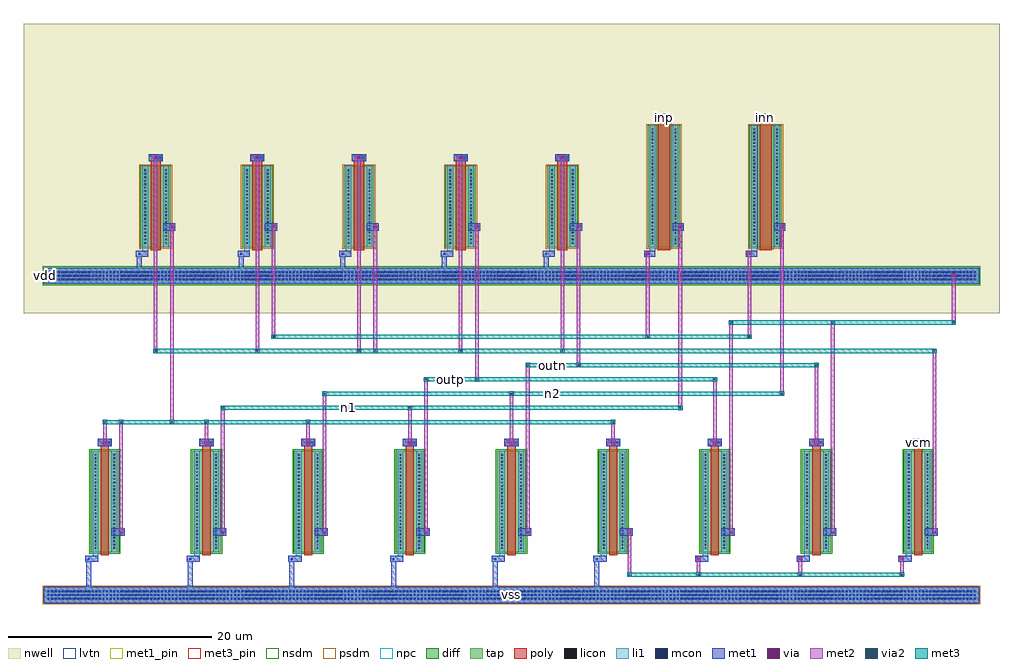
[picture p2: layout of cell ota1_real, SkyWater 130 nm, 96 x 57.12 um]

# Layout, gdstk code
import gdstk
lib = gdstk.Library(unit=1e-6, precision=1e-09)
def R(c, l, rs):  # rectangles x0, y0, x1, y1
    for r in rs: c.add(gdstk.rectangle(r[:2], r[2:], *l))
def A(c, l, x, y, w, h, nx, ny, dx, dy):  # array of equal rectangles
    R(c, l, [(x+i*dx, y+j*dy, x+i*dx+w, y+j*dy+h) for i in range(nx) for j in range(ny)])
nwell = (64, 20)
diff = (65, 20)
tap = (65, 44)
poly = (66, 20)
licon = (66, 44)
li1 = (67, 20)
mcon = (67, 44)
met1_pin = (68, 16)
met1 = (68, 20)
via = (68, 44)
met2 = (69, 20)
via2 = (69, 44)
met3_pin = (70, 16)
met3 = (70, 20)
nsdm = (93, 44)
psdm = (94, 20)
npc = (95, 20)
lvtn = (125, 44)

ota1_real = lib.new_cell('ota1_real')
R(ota1_real, nwell, [(-2,29.5,94,58)])
A(ota1_real, diff, 4.6, 6, 2.8, 10, 9, 1, 10, 0)
A(ota1_real, diff, 9.5, 36, 3, 8, 5, 1, 10, 0)
R(ota1_real, diff, [(59.4,36,62.6,48), (69.4,36,72.6,48)])
R(ota1_real, tap, [(0,1,92,2.6), (0,32.4,92,34)])
A(ota1_real, poly, 5.6, 5.7, 0.8, 10.75, 9, 1, 10, 0)
A(ota1_real, poly, 5.3, 16.45, 1.4, 0.7, 9, 1, 10, 0)
A(ota1_real, poly, 10.5, 35.7, 1, 8.75, 5, 1, 10, 0)
A(ota1_real, poly, 10.3, 44.45, 1.4, 0.7, 5, 1, 10, 0)
R(ota1_real, poly, [(60.4,35.7,61.6,48.45), (70.4,35.7,71.6,48.45), (60.3,48.45,61.7,49.15), (70.3,48.45,71.7,49.15)])
A(ota1_real, licon, 0.355, 1.375, 0.17, 0.17, 269, 3, 0.34, 0.34)
A(ota1_real, licon, 4.99, 6.325, 0.17, 0.17, 1, 28, 0, 0.34)
A(ota1_real, licon, 6.84, 6.325, 0.17, 0.17, 1, 28, 0, 0.34)
A(ota1_real, licon, 14.99, 6.325, 0.17, 0.17, 1, 28, 0, 0.34)
A(ota1_real, licon, 16.84, 6.325, 0.17, 0.17, 1, 28, 0, 0.34)
A(ota1_real, licon, 24.99, 6.325, 0.17, 0.17, 1, 28, 0, 0.34)
A(ota1_real, licon, 26.84, 6.325, 0.17, 0.17, 1, 28, 0, 0.34)
A(ota1_real, licon, 34.99, 6.325, 0.17, 0.17, 1, 28, 0, 0.34)
A(ota1_real, licon, 36.84, 6.325, 0.17, 0.17, 1, 28, 0, 0.34)
A(ota1_real, licon, 44.99, 6.325, 0.17, 0.17, 1, 28, 0, 0.34)
A(ota1_real, licon, 46.84, 6.325, 0.17, 0.17, 1, 28, 0, 0.34)
A(ota1_real, licon, 54.99, 6.325, 0.17, 0.17, 1, 28, 0, 0.34)
A(ota1_real, licon, 56.84, 6.325, 0.17, 0.17, 1, 28, 0, 0.34)
A(ota1_real, licon, 64.99, 6.325, 0.17, 0.17, 1, 28, 0, 0.34)
A(ota1_real, licon, 66.84, 6.325, 0.17, 0.17, 1, 28, 0, 0.34)
A(ota1_real, licon, 74.99, 6.325, 0.17, 0.17, 1, 28, 0, 0.34)
A(ota1_real, licon, 76.84, 6.325, 0.17, 0.17, 1, 28, 0, 0.34)
A(ota1_real, licon, 84.99, 6.325, 0.17, 0.17, 1, 28, 0, 0.34)
A(ota1_real, licon, 86.84, 6.325, 0.17, 0.17, 1, 28, 0, 0.34)
A(ota1_real, licon, 6.315, 16.715, 0.17, 0.17, 9, 1, 10, 0)
A(ota1_real, licon, 0.355, 32.775, 0.17, 0.17, 269, 3, 0.34, 0.34)
A(ota1_real, licon, 59.79, 36.305, 0.17, 0.17, 1, 34, 0, 0.34)
A(ota1_real, licon, 62.04, 36.305, 0.17, 0.17, 1, 34, 0, 0.34)
A(ota1_real, licon, 69.79, 36.305, 0.17, 0.17, 1, 34, 0, 0.34)
A(ota1_real, licon, 72.04, 36.305, 0.17, 0.17, 1, 34, 0, 0.34)
A(ota1_real, licon, 9.89, 36.345, 0.17, 0.17, 1, 22, 0, 0.34)
A(ota1_real, licon, 11.94, 36.345, 0.17, 0.17, 1, 22, 0, 0.34)
A(ota1_real, licon, 19.89, 36.345, 0.17, 0.17, 1, 22, 0, 0.34)
A(ota1_real, licon, 21.94, 36.345, 0.17, 0.17, 1, 22, 0, 0.34)
A(ota1_real, licon, 29.89, 36.345, 0.17, 0.17, 1, 22, 0, 0.34)
A(ota1_real, licon, 31.94, 36.345, 0.17, 0.17, 1, 22, 0, 0.34)
A(ota1_real, licon, 39.89, 36.345, 0.17, 0.17, 1, 22, 0, 0.34)
A(ota1_real, licon, 41.94, 36.345, 0.17, 0.17, 1, 22, 0, 0.34)
A(ota1_real, licon, 49.89, 36.345, 0.17, 0.17, 1, 22, 0, 0.34)
A(ota1_real, licon, 51.94, 36.345, 0.17, 0.17, 1, 22, 0, 0.34)
A(ota1_real, licon, 11.315, 44.715, 0.17, 0.17, 5, 1, 10, 0)
R(ota1_real, licon, [(61.315,48.715,61.485,48.885), (71.315,48.715,71.485,48.885)])
A(ota1_real, li1, 4.05, 5.05, 1.3, 0.6, 9, 1, 10, 0)
A(ota1_real, li1, 4.8, 5.65, 0.55, 10.35, 9, 1, 10, 0)
A(ota1_real, li1, 6.65, 6, 0.55, 1.65, 9, 1, 10, 0)
A(ota1_real, li1, 6.65, 7.65, 1.3, 0.7, 9, 1, 10, 0)
A(ota1_real, li1, 6.65, 8.35, 0.55, 7.65, 9, 1, 10, 0)
A(ota1_real, li1, 5.3, 16.45, 1.4, 0.7, 9, 1, 10, 0)
A(ota1_real, li1, 9.05, 35.05, 1.2, 0.6, 5, 1, 10, 0)
A(ota1_real, li1, 9.7, 35.65, 0.55, 8.35, 5, 1, 10, 0)
A(ota1_real, li1, 11.75, 36, 0.55, 1.65, 5, 1, 10, 0)
A(ota1_real, li1, 11.75, 37.65, 1.2, 0.7, 5, 1, 10, 0)
A(ota1_real, li1, 11.75, 38.35, 0.55, 5.65, 5, 1, 10, 0)
A(ota1_real, li1, 10.3, 44.45, 1.4, 0.7, 5, 1, 10, 0)
R(ota1_real, li1, [(0,1,92,2.6), (0,32.4,92,34), (59.05,35.05,60.15,35.65), (69.05,35.05,70.15,35.65), (59.6,35.65,60.15,48), (69.6,35.65,70.15,48), (61.85,36,62.4,37.65), (71.85,36,72.4,37.65), (61.85,37.65,62.95,38.35), (71.85,37.65,72.95,38.35), (61.85,38.35,62.4,48), (71.85,38.35,72.4,48), (60.3,48.45,61.7,49.15), (70.3,48.45,71.7,49.15)])
A(ota1_real, mcon, 0.375, 1.355, 0.17, 0.17, 254, 3, 0.36, 0.36)
A(ota1_real, mcon, 4.315, 5.265, 0.17, 0.17, 9, 1, 10, 0)
A(ota1_real, mcon, 7.515, 7.915, 0.17, 0.17, 9, 1, 10, 0)
A(ota1_real, mcon, 5.915, 16.715, 0.17, 0.17, 9, 1, 10, 0)
A(ota1_real, mcon, 0.375, 32.755, 0.17, 0.17, 254, 3, 0.36, 0.36)
A(ota1_real, mcon, 9.315, 35.265, 0.17, 0.17, 7, 1, 10, 0)
A(ota1_real, mcon, 12.515, 37.915, 0.17, 0.17, 7, 1, 10, 0)
A(ota1_real, mcon, 10.915, 44.715, 0.17, 0.17, 5, 1, 10, 0)
R(ota1_real, mcon, [(60.915,48.715,61.085,48.885), (70.915,48.715,71.085,48.885)])
R(ota1_real, met1_pin, [(0,1,92,2.6), (85.8,16.6,86.2,17), (0,32.4,0.25,34), (60.8,48.6,61.2,49), (70.8,48.6,71.2,49)])
A(ota1_real, met1, 4.15, 2.6, 0.5, 2.45, 6, 1, 10, 0)
A(ota1_real, met1, 4.05, 5.05, 1.3, 0.6, 9, 1, 10, 0)
A(ota1_real, met1, 6.65, 7.65, 1.3, 0.7, 9, 1, 10, 0)
A(ota1_real, met1, 5.3, 16.45, 1.4, 0.7, 9, 1, 10, 0)
A(ota1_real, met1, 9.15, 34, 0.5, 1.05, 5, 1, 10, 0)
A(ota1_real, met1, 9.05, 35.05, 1.2, 0.6, 5, 1, 10, 0)
A(ota1_real, met1, 11.75, 37.65, 1.2, 0.7, 5, 1, 10, 0)
A(ota1_real, met1, 10.3, 44.45, 1.4, 0.7, 5, 1, 10, 0)
R(ota1_real, met1, [(0,1,92,2.6), (0,32.4,92,34), (59.05,35.05,60.15,35.65), (69.05,35.05,70.15,35.65), (61.85,37.65,62.95,38.35), (71.85,37.65,72.95,38.35), (60.3,48.45,61.7,49.15), (70.3,48.45,71.7,49.15)])
A(ota1_real, via, 64.325, 5.275, 0.15, 0.15, 3, 1, 10, 0)
A(ota1_real, via, 7.525, 7.925, 0.15, 0.15, 9, 1, 10, 0)
A(ota1_real, via, 5.925, 16.725, 0.15, 0.15, 8, 1, 10, 0)
A(ota1_real, via, 12.525, 37.925, 0.15, 0.15, 7, 1, 10, 0)
A(ota1_real, via, 10.925, 44.725, 0.15, 0.15, 5, 1, 10, 0)
R(ota1_real, via, [(89.425,33.125,89.575,33.275), (59.325,35.275,59.475,35.425), (69.325,35.275,69.475,35.425)])
A(ota1_real, met2, 64.18, 3.58, 0.44, 0.44, 3, 1, 10, 0)
A(ota1_real, met2, 64.22, 4.02, 0.36, 1.13, 3, 1, 10, 0)
A(ota1_real, met2, 64.2, 5.15, 0.4, 0.4, 3, 1, 10, 0)
A(ota1_real, met2, 7.4, 7.8, 0.4, 0.4, 9, 1, 10, 0)
A(ota1_real, met2, 5.8, 16.6, 0.4, 0.4, 8, 1, 10, 0)
A(ota1_real, met2, 5.82, 17, 0.36, 1.58, 3, 1, 10, 0)
A(ota1_real, met2, 10.78, 25.58, 0.44, 0.44, 3, 1, 10, 0)
A(ota1_real, met2, 10.82, 26.02, 0.36, 18.58, 5, 1, 10, 0)
A(ota1_real, met2, 12.4, 37.8, 0.4, 0.4, 7, 1, 10, 0)
A(ota1_real, met2, 10.8, 44.6, 0.4, 0.4, 5, 1, 10, 0)
R(ota1_real, met2, [(57.38,3.58,57.82,4.02), (57.42,4.02,57.78,7.8), (7.42,8.2,7.78,18.58), (17.42,8.2,17.78,19.98), (27.42,8.2,27.78,21.38), (37.42,8.2,37.78,22.78), (47.42,8.2,47.78,24.18), (67.42,8.2,67.78,28.38), (77.42,8.2,77.78,28.38), (87.42,8.2,87.78,25.58), (35.82,17,36.18,19.98), (45.82,17,46.18,21.38), (55.82,17,56.18,18.58), (65.82,17,66.18,22.78), (75.82,17,76.18,24.18), (5.78,18.58,6.22,19.02), (7.38,18.58,7.82,19.02), (12.38,18.58,12.82,19.02), (15.78,18.58,16.22,19.02), (25.78,18.58,26.22,19.02), (55.78,18.58,56.22,19.02), (12.42,19.02,12.78,37.8), (17.38,19.98,17.82,20.42), (35.78,19.98,36.22,20.42), (62.38,19.98,62.82,20.42), (62.42,20.42,62.78,37.8), (27.38,21.38,27.82,21.82), (45.78,21.38,46.22,21.82), (72.38,21.38,72.82,21.82), (72.42,21.82,72.78,37.8), (37.38,22.78,37.82,23.22), (42.38,22.78,42.82,23.22), (65.78,22.78,66.22,23.22), (42.42,23.22,42.78,37.8), (47.38,24.18,47.82,24.62), (52.38,24.18,52.82,24.62), (75.78,24.18,76.22,24.62), (52.42,24.62,52.78,37.8), (32.38,25.58,32.82,26.02), (40.78,25.58,41.22,26.02), (50.78,25.58,51.22,26.02), (87.38,25.58,87.82,26.02), (32.42,26.02,32.78,37.8), (22.38,26.98,22.82,27.42), (59.18,26.98,59.62,27.42), (69.18,26.98,69.62,27.42), (22.42,27.42,22.78,37.8), (59.22,27.42,59.58,35.15), (69.22,27.42,69.58,35.15), (67.38,28.38,67.82,28.82), (77.38,28.38,77.82,28.82), (89.28,28.38,89.72,28.82), (89.32,28.82,89.68,33), (89.3,33,89.7,33.4), (59.2,35.15,59.6,35.55), (69.2,35.15,69.6,35.55)])
A(ota1_real, via2, 64.3, 3.7, 0.2, 0.2, 3, 1, 10, 0)
A(ota1_real, via2, 10.9, 25.7, 0.2, 0.2, 3, 1, 10, 0)
R(ota1_real, via2, [(57.5,3.7,57.7,3.9), (5.9,18.7,6.1,18.9), (7.5,18.7,7.7,18.9), (12.5,18.7,12.7,18.9), (15.9,18.7,16.1,18.9), (25.9,18.7,26.1,18.9), (55.9,18.7,56.1,18.9), (17.5,20.1,17.7,20.3), (35.9,20.1,36.1,20.3), (62.5,20.1,62.7,20.3), (27.5,21.5,27.7,21.7), (45.9,21.5,46.1,21.7), (72.5,21.5,72.7,21.7), (37.5,22.9,37.7,23.1), (42.5,22.9,42.7,23.1), (65.9,22.9,66.1,23.1), (47.5,24.3,47.7,24.5), (52.5,24.3,52.7,24.5), (75.9,24.3,76.1,24.5), (32.5,25.7,32.7,25.9), (40.9,25.7,41.1,25.9), (50.9,25.7,51.1,25.9), (87.5,25.7,87.7,25.9), (22.5,27.1,22.7,27.3), (59.3,27.1,59.5,27.3), (69.3,27.1,69.5,27.3), (67.5,28.5,67.7,28.7), (77.5,28.5,77.7,28.7), (89.4,28.5,89.6,28.7)])
R(ota1_real, met3_pin, [(29.8,20,30.2,20.4), (49.8,21.4,50.2,21.8), (39.8,22.8,40.2,23.2), (49.8,24.2,50.2,24.6)])
A(ota1_real, met3, 64.18, 3.58, 0.44, 0.02, 3, 2, 10, 0.42)
A(ota1_real, met3, 10.78, 25.58, 0.44, 0.02, 3, 2, 10, 0.42)
R(ota1_real, met3, [(57.38,3.58,57.82,3.6), (57.38,3.6,84.62,4), (57.38,4,57.82,4.02), (5.78,18.58,6.22,18.6), (7.38,18.58,7.82,18.6), (12.38,18.58,12.82,18.6), (15.78,18.58,16.22,18.6), (25.78,18.58,26.22,18.6), (55.78,18.58,56.22,18.6), (5.78,18.6,56.22,19), (5.78,19,6.22,19.02), (7.38,19,7.82,19.02), (12.38,19,12.82,19.02), (15.78,19,16.22,19.02), (25.78,19,26.22,19.02), (55.78,19,56.22,19.02), (17.38,19.98,17.82,20), (35.78,19.98,36.22,20), (62.38,19.98,62.82,20), (17.38,20,62.82,20.4), (17.38,20.4,17.82,20.42), (35.78,20.4,36.22,20.42), (62.38,20.4,62.82,20.42), (27.38,21.38,27.82,21.4), (45.78,21.38,46.22,21.4), (72.38,21.38,72.82,21.4), (27.38,21.4,72.82,21.8), (27.38,21.8,27.82,21.82), (45.78,21.8,46.22,21.82), (72.38,21.8,72.82,21.82), (37.38,22.78,37.82,22.8), (42.38,22.78,42.82,22.8), (65.78,22.78,66.22,22.8), (37.38,22.8,66.22,23.2), (37.38,23.2,37.82,23.22), (42.38,23.2,42.82,23.22), (65.78,23.2,66.22,23.22), (47.38,24.18,47.82,24.2), (52.38,24.18,52.82,24.2), (75.78,24.18,76.22,24.2), (47.38,24.2,76.22,24.6), (47.38,24.6,47.82,24.62), (52.38,24.6,52.82,24.62), (75.78,24.6,76.22,24.62), (32.38,25.58,32.82,25.6), (40.78,25.58,41.22,25.6), (50.78,25.58,51.22,25.6), (87.38,25.58,87.82,25.6), (10.78,25.6,87.82,26), (32.38,26,32.82,26.02), (40.78,26,41.22,26.02), (50.78,26,51.22,26.02), (87.38,26,87.82,26.02), (22.38,26.98,22.82,27), (59.18,26.98,59.62,27), (69.18,26.98,69.62,27), (22.38,27,69.62,27.4), (22.38,27.4,22.82,27.42), (59.18,27.4,59.62,27.42), (69.18,27.4,69.62,27.42), (67.38,28.38,67.82,28.4), (77.38,28.38,77.82,28.4), (89.28,28.38,89.72,28.4), (67.38,28.4,89.72,28.8), (67.38,28.8,67.82,28.82), (77.38,28.8,77.82,28.82), (89.28,28.8,89.72,28.82)])
A(ota1_real, nsdm, 4.475, 5.875, 3.05, 10.25, 9, 1, 10, 0)
R(ota1_real, nsdm, [(-0.125,32.275,92.125,34.125)])
A(ota1_real, psdm, 9.375, 35.875, 3.25, 8.25, 5, 1, 10, 0)
R(ota1_real, psdm, [(-0.125,0.875,92.125,2.725), (59.275,35.875,62.725,48.125), (69.275,35.875,72.725,48.125)])
A(ota1_real, npc, 6.215, 16.615, 0.37, 0.37, 9, 1, 10, 0)
A(ota1_real, npc, 11.215, 44.615, 0.37, 0.37, 5, 1, 10, 0)
R(ota1_real, npc, [(61.215,48.615,61.585,48.985), (71.215,48.615,71.585,48.985)])
R(ota1_real, lvtn, [(60.22,35.82,61.78,48.18), (70.22,35.82,71.78,48.18)])
ota1_real.add(gdstk.Label('inp', (61,48.8), layer=68, texttype=5))
ota1_real.add(gdstk.Label('inn', (71,48.8), layer=68, texttype=5))
ota1_real.add(gdstk.Label('outp', (40,23), layer=70, texttype=5))
ota1_real.add(gdstk.Label('outn', (50,24.4), layer=70, texttype=5))
ota1_real.add(gdstk.Label('n1', (30,20.2), layer=70, texttype=5))
ota1_real.add(gdstk.Label('n2', (50,21.6), layer=70, texttype=5))
ota1_real.add(gdstk.Label('vcm', (86,16.8), layer=68, texttype=5))
ota1_real.add(gdstk.Label('vdd', (0.125,33.2), layer=68, texttype=5))
ota1_real.add(gdstk.Label('vss', (46,1.8), layer=68, texttype=5))

lib.write_gds('ota1_real.gds')
